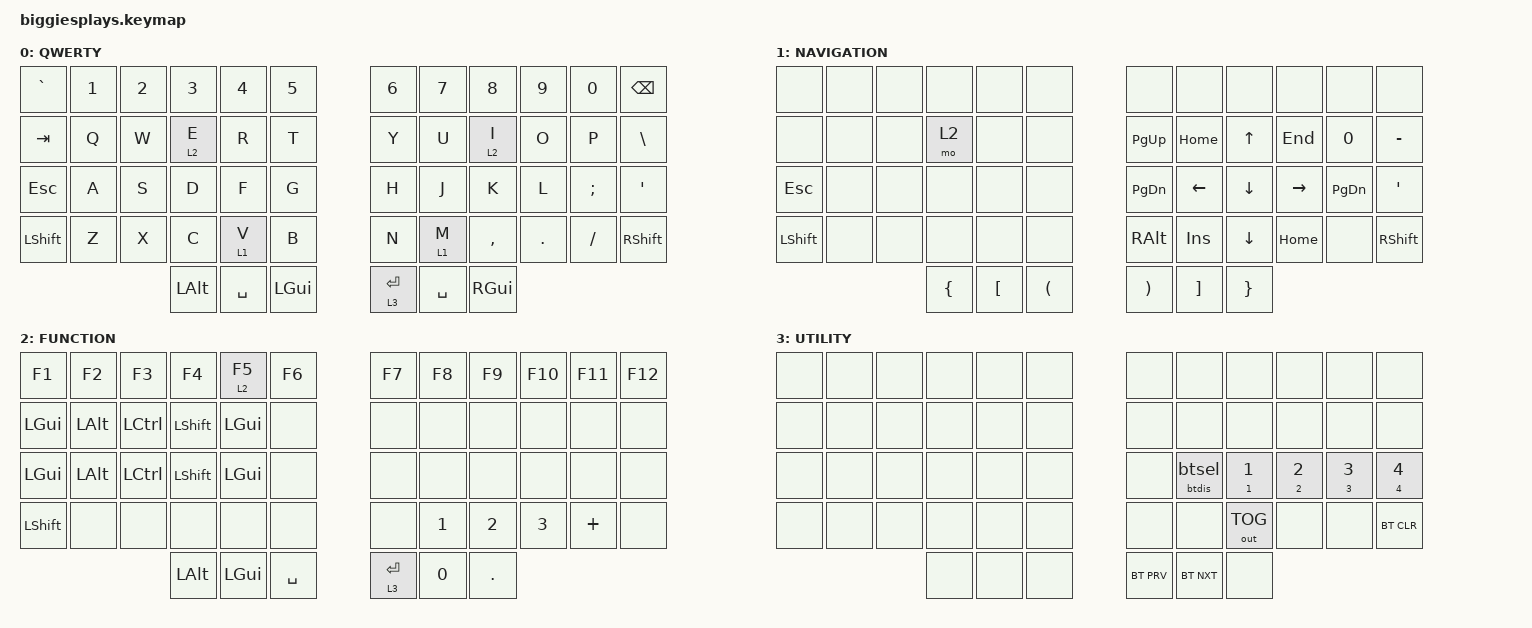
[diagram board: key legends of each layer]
// Copyright (c) 2022 The ZMK Contributors
// SPDX-License-Identifier: MIT

#include <behaviors.dtsi>
#include <dt-bindings/zmk/keys.h>
#include <dt-bindings/zmk/bt.h>
#include <dt-bindings/zmk/outputs.h>
#include <dt-bindings/zmk/pointing.h>

/ {
    behaviors {
        ht: hold_tap {
            compatible = "zmk,behavior-hold-tap";
            #binding-cells = <2>;
            flavor = "tap-preferred";
            tapping-term-ms = <220>;
            quick-tap-ms = <150>;
            require-prior-idle-ms = <100>;
            bindings = <&kp>, <&kp>;
        };
        btht: bluetooth_hold_tap {
            compatible = "zmk,behavior-hold-tap";
            #binding-cells = <2>;
            flavor = "tap-preferred";
            tapping-term-ms = <2000>;
            require-prior-idle-ms = <100>;
            bindings = <&btdis>, <&btsel>;
        };
    };
    macros {
        btsel: bluetooth_select {
            compatible = "zmk,behavior-macro-one-param";
            #binding-cells = <1>;
            bindings
                = <&macro_param_1to2>
                , <&macro_tap &bt BT_SEL MACRO_PLACEHOLDER>
                , <&macro_tap &out OUT_BLE>
                ;
        };
        btdis: bluetooth_disconnect {
            compatible = "zmk,behavior-macro-one-param";
            #binding-cells = <1>;
            bindings
                = <&macro_param_1to2>
                , <&macro_tap &bt BT_DISC MACRO_PLACEHOLDER>
                ;
        };
    };

    conditional_layers {
        compatible = "zmk,conditional-layers";
        tri_layer {
            if-layers = <1 2>;
            then-layer = <3>;
        };
    };

    keymap {
        compatible = "zmk,keymap";

        default_layer {
            display-name = "QWERTY";
            bindings = <
        //╭──────────┬──────────┬──────────┬──────────┬──────────┬──────────╮     ╭──────────┬──────────┬──────────┬──────────┬──────────┬──────────╮
        //│  ` ~     |  1 !     │  2 @     │  3 #     │  4 $     │  5 %     │     │  6 ^     │  7 &     │  8 *     │  9 (     │  0 )     │  BSPC    |
            &kp GRAVE  &kp N1     &kp N2     &kp N3     &kp N4     &kp N5            &kp N6    &kp N7     &kp N8     &kp N9      &kp N0    &kp BSPC
        //├──────────┼──────────┼──────────┼──────────┼──────────┤──────────┤     ├──────────┼──────────┼──────────┼──────────┼──────────┤──────────┤
        //│  TAB     |  Q       │  W       │E+FUNLAYER│  R       │  T       │     │  Y       │  U       │  I       │  O       │  P       │  \ |     |
            &kp TAB    &kp Q      &kp W      &lt 2 E    &kp R      &kp T            &kp Y      &kp U      &lt 2 I    &kp O      &kp P      &kp BSLH 
        //├──────────┼──────────┼──────────┼──────────┼──────────┤──────────┤     ├──────────┼──────────┼──────────┼──────────┼──────────┤──────────┤
        //│  ESC     │  A       │  S       │  D       │  F       │  G       |     │  H       │  J       │  K       │  L       │  ; :     │  ' "     |            
            &kp ESC    &kp A      &kp S      &kp D      &kp F      &kp G            &kp H      &kp J      &kp K      &kp L      &kp SEMI   &kp SQT
        //├──────────┼──────────┼──────────┼──────────┼──────────┤──────────┤     ├──────────┼──────────┼──────────┼──────────┼──────────┤──────────┤
        //│  SHIFT   │  Z       │  X       │  C       │V+NAVLAYER│  B       |     │  N       │  M       │  , <     │  . >     │  ? /     │  SHFT    |
            &kp LSHIFT  &kp Z      &kp X      &kp C      &lt 1 V    &kp B            &kp N      &lt 1 M   &kp COMMA   &kp DOT    &kp FSLH   &kp RSHIFT
        //├──────────┼──────────┼──────────┼──────────┼──────────┤──────────┤     ├──────────┼──────────┼──────────┼──────────┼──────────┤──────────┤
        //                                 │  ALT     │  SPACE   │KELTICKNOT|     │  ENTER   │  SPACE   │KELTICKNOT│ 
                                             &kp LALT   &kp SPACE  &kp LGUI       &lt 3 ENTER  &kp SPACE  &kp RGUI
            >;
        };

        nav_layer {
            display-name = "NAVIGATION";
            bindings = <
        //╭──────────┬──────────┬──────────┬──────────┬──────────┬──────────╮     ╭──────────┬──────────┬──────────┬──────────┬──────────┬──────────╮
        //│          |          │          │          │          │          │     │          │          │          │          │          │          |
            &none      &none      &none      &none      &none      &none           &none       &none      &none      &none      &none      &none
        //├──────────┼──────────┼──────────┼──────────┼──────────┤──────────┤     ├──────────┼──────────┼──────────┼──────────┼──────────┤──────────┤
        //│          |          │          │          │          │          │     │ PAGE UP  │  HOME    │  UP      │  END     │  0       │  - _     |
            &none      &none      &none      &mo 2      &none      &none           &kp PG_UP   &kp HOME   &kp UP     &kp END    &kp N0     &kp MINUS
        //├──────────┼──────────┼──────────┼──────────┼──────────┤──────────┤     ├──────────┼──────────┼──────────┼──────────┼──────────┤──────────┤
        //│  ESC     │          │          │          │          │          |     │PAGE DOWN │  LEFT    │  DOWN    │  RIGHT   │PAGE DOWN │  ' "     |
            &kp ESC    &none      &none      &none      &none      &none           &kp PG_DN   &kp LEFT   &kp DOWN   &kp RIGHT  &kp PG_DN  &kp SQT
        //├──────────┼──────────┼──────────┼──────────┼──────────┤──────────┤     ├──────────┼──────────┼──────────┼──────────┼──────────┤──────────┤
        //│ SHIFT    │          │          │          │          │          |     │  ALT     │  INSERT  │  DOWN    │  HOME    │          │ SHIFT    |
           &kp LSHIFT    &none      &none      &none      &none      &none            &kp RALT   &kp INS    &kp DOWN   &kp HOME   &none      &kp RSHFT
        //├──────────┼──────────┼──────────┼──────────┼──────────┤──────────┤     ├──────────┼──────────┼──────────┼──────────┼──────────┤──────────┤
        //                                 │  {       │  [       │ (        |     │  )       │  ]       │  }       │ 
                                             &kp LBRC  &kp LBKT   &kp LPAR         &kp RPAR    &kp RBKT   &kp RBRC
            >;
        };



        fun_layer {
            display-name = "FUNCTION";
            bindings = <
        //╭──────────┬──────────┬──────────┬──────────┬──────────┬──────────╮     ╭───────────────┬───────────────┬───────────────┬───────────────┬───────────────┬───────────────╮
        //│          |          │          │          │NAV LAYER │          │     │               │               │               │               │               │               |
            &kp F1     &kp F2     &kp F3     &kp F4     &lt 2 F5   &kp F6              &kp F7           &kp F8          &kp F9          &kp F10         &kp F11         &kp F12
        //├──────────┼──────────┼──────────┼──────────┼──────────┤──────────┤     ├───────────────┼───────────────┼───────────────┼───────────────┼───────────────┤───────────────┤
        //│          │          │          │          │          │          |     │               │               │               │               │               │               |
            &kp LGUI   &kp LALT   &kp LCTRL  &kp LSHFT  &kp LGUI   &none            &none          &none            &none           &none            &none             &none       
        //├──────────┼──────────┼──────────┼──────────┼──────────┤──────────┤     ├───────────────┼───────────────┼───────────────┼───────────────┼───────────────┤───────────────┤
        //│          │          │          │          │          │          |     │               │               │               │               │               │               |
            &kp LGUI   &kp LALT   &kp LCTRL  &kp LSHFT  &kp LGUI   &none           &none             &none          &none           &none            &none             &none
        //├──────────┼──────────┼──────────┼──────────┼──────────┤──────────┤     ├───────────────┼───────────────┼───────────────┼───────────────┼───────────────┤───────────────┤
        //│  SHIFT   │          │          │          │          │          |     │               │               │               │               │               │               |
           &kp LSHIFT   &none     &none      &none      &none      &none           &none           &kp N1          &kp N2          &kp N3          &kp PLUS        &none
        //├──────────┼──────────┼──────────┼──────────┼──────────┤──────────┤     ├───────────────┼───────────────┼───────────────┼───────────────┼───────────────┤───────────────┤
        //                                 │  ALT     │KELTICKNOT│ SPACE    |     │  ENTER        │  0            │  DOT          │ 
                                             &kp LALT  &kp LGUI  &kp SPACE          &lt 3 ENTER     &kp N0          &kp DOT
            >;
        };

        util_layer {
            display-name = "UTILITY";
            bindings = <
        //╭──────────┬──────────┬──────────┬──────────┬──────────┬──────────╮     ╭──────────┬──────────────┬──────────────┬──────────────┬──────────────┬──────────────╮
        //│          │          │          │          │          │          │     │          │              │              │              │              │              |   
           &none        &none      &none       &none       &none     &none            &none      &none        &none          &none           &none         &none
        //├──────────┼──────────┼──────────┼──────────┼──────────┼──────────┤     ├──────────┼──────────────┼──────────────┼──────────────┼──────────────┼──────────────┤
        //│          │          │          │          │          │          │     │          │              │              │              │              │               
           &none        &none      &none       &none       &none     &none            &none      &none        &none          &none           &none         &none
        //├──────────┼──────────┼──────────┼──────────┼──────────┼──────────┤     ├──────────┼──────────────┼──────────────┼──────────────┼──────────────┼──────────────┤
        //│          │          │          │          │          │          │                │ Hunter Work  │ Britt Work   │              │ Tiny Lappy   │              │
           &none        &none      &none       &none       &none     &none            &none      &btht 0 0      &btht 1 1      &btht 2 2      &btht 3 3    &btht 4 4
        //├──────────┼──────────┼──────────┼──────────┼──────────┼──────────┤     ├──────────┼──────────────┼──────────────┼──────────────┼──────────────┼──────────────┤
        //│          │          │          │          │          │          │                │              │ USB/BLE      │              │              │Clear Profile │
           &none        &none      &none       &none       &none     &none            &none      &none        &out OUT_TOG    &none           &none        &bt BT_CLR
        //╰──────────┴──────────┴──────────┴──────────┼──────────┼──────────┤     ├──────────┼──────────────┼──────────────┼──────────────┴──────────────┴──────────────╯
                                               &none       &none     &none        &bt BT_PRV    &bt BT_NXT    &none
        //                                 ╰──────────┴──────────┴──────────╯     ╰──────────┴──────────────┴──────────────╯
            >;
        };
    };
};
